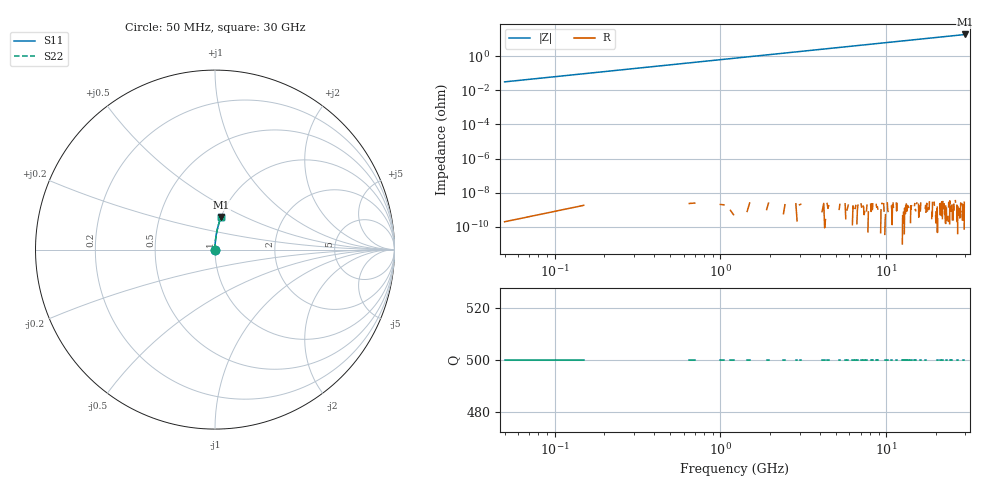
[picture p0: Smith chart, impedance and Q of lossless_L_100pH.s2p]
! SYNTHETIC lossless series inductor, L = 1e-10 H (known by construction)
! S11=S22=Z/(Z+2z0), S21=S12=2z0/(Z+2z0), Z=j*w*L, z0=50. NOT an EM result.
# Hz S RI R 50
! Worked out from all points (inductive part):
!   600 points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, 50 MHz to 30 GHz, reference 50 ohm
!   read as one part in series: L = 100 pH near 200 MHz
!   highest |Z| = 18.8 ohm at 30 GHz (marker M1)
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5e7  9.87e-08 0.000314  1 -0.000314  1 -0.000314  9.87e-08 0.000314
1.5e8  8.88e-07 0.000942  1 -0.000942  1 -0.000942  8.88e-07 0.000942
2.5e8  2.47e-06 0.00157  1 -0.00157  1 -0.00157  2.47e-06 0.00157
3e8  3.55e-06 0.00188  1 -0.00188  1 -0.00188  3.55e-06 0.00188
3.5e8  4.84e-06 0.0022  1 -0.0022  1 -0.0022  4.84e-06 0.0022
4.5e8  7.99e-06 0.00283  1 -0.00283  1 -0.00283  7.99e-06 0.00283
6e8  1.42e-05 0.00377  1 -0.00377  1 -0.00377  1.42e-05 0.00377
7.5e8  2.22e-05 0.00471  1 -0.00471  1 -0.00471  2.22e-05 0.00471
9.5e8  3.56e-05 0.00597  1 -0.00597  1 -0.00597  3.56e-05 0.00597
1.2e9  5.68e-05 0.00754  0.9999 -0.00754  0.9999 -0.00754  5.68e-05 0.00754
1.5e9  8.88e-05 0.00942  0.9999 -0.00942  0.9999 -0.00942  8.88e-05 0.00942
1.85e9  0.000135 0.0116  0.9999 -0.0116  0.9999 -0.0116  0.000135 0.0116
2.7e9  0.000288 0.017  0.9997 -0.017  0.9997 -0.017  0.000288 0.017
3.75e9  0.000555 0.0235  0.9994 -0.0235  0.9994 -0.0235  0.000555 0.0235
5.05e9  0.00101 0.0317  0.999 -0.0317  0.999 -0.0317  0.00101 0.0317
7.25e9  0.00207 0.0455  0.9979 -0.0455  0.9979 -0.0455  0.00207 0.0455
1.005e10  0.00397 0.0629  0.996 -0.0629  0.996 -0.0629  0.00397 0.0629
1.24e10  0.00603 0.0774  0.994 -0.0774  0.994 -0.0774  0.00603 0.0774
1.505e10  0.00886 0.0937  0.9911 -0.0937  0.9911 -0.0937  0.00886 0.0937
2.005e10  0.0156 0.124  0.9844 -0.124  0.9844 -0.124  0.0156 0.124
2.505e10  0.0242 0.1536  0.9758 -0.1536  0.9758 -0.1536  0.0242 0.1536
3e10  0.0343 0.182  0.9657 -0.182  0.9657 -0.182  0.0343 0.182
